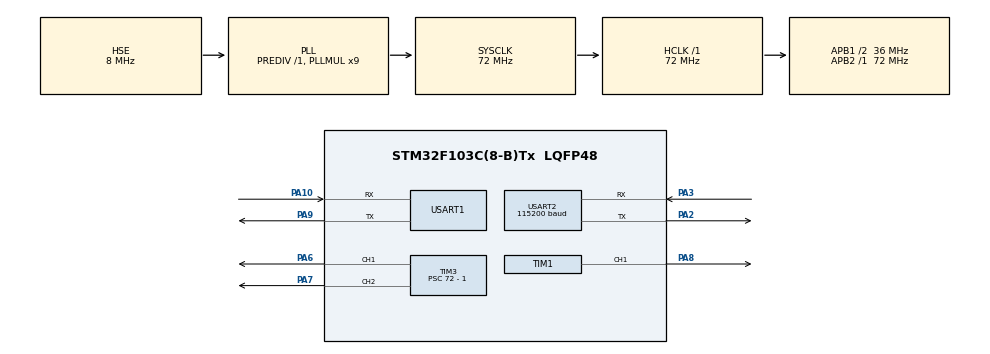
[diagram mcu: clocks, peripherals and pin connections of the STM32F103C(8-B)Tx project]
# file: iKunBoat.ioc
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Mcu.Family=STM32F1
Mcu.Name=STM32F103C(8-B)Tx
Mcu.Package=LQFP48
NVIC.PriorityGroup=NVIC_PRIORITYGROUP_4
NVIC.USART1_IRQn=true\:0\:0\:true\:false\:true\:true\:true
NVIC.USART2_IRQn=true\:1\:0\:true\:false\:true\:true\:true
PA10.Mode=Asynchronous
PA10.Signal=USART1_RX
PA13.Mode=Serial_Wire
PA13.Signal=SYS_JTMS-SWDIO
PA14.Mode=Serial_Wire
PA14.Signal=SYS_JTCK-SWCLK
PA2.Mode=Asynchronous
PA2.Signal=USART2_TX
PA3.Mode=Asynchronous
PA3.Signal=USART2_RX
PA6.GPIO_Speed=GPIO_SPEED_FREQ_HIGH
PA6.Signal=S_TIM3_CH1
PA7.GPIO_Speed=GPIO_SPEED_FREQ_HIGH
PA7.Signal=S_TIM3_CH2
PA8.GPIO_Speed=GPIO_SPEED_FREQ_HIGH
PA8.Signal=S_TIM1_CH1
PA9.Mode=Asynchronous
PA9.Signal=USART1_TX
PD0-OSC_IN.Mode=HSE-External-Oscillator
PD0-OSC_IN.Signal=RCC_OSC_IN
PD1-OSC_OUT.Mode=HSE-External-Oscillator
PD1-OSC_OUT.Signal=RCC_OSC_OUT
ProjectManager.HeapSize=0x200
ProjectManager.StackSize=0x400
ProjectManager.TargetToolchain=STM32CubeIDE
RCC.AHBFreq_Value=72000000
RCC.APB1CLKDivider=RCC_HCLK_DIV2
RCC.APB1Freq_Value=36000000
RCC.APB1TimFreq_Value=72000000
RCC.APB2Freq_Value=72000000
RCC.APB2TimFreq_Value=72000000
RCC.HCLKFreq_Value=72000000
RCC.PLLMUL=RCC_PLL_MUL9
RCC.PLLSourceVirtual=RCC_PLLSOURCE_HSE
RCC.SYSCLKFreq_VALUE=72000000
RCC.SYSCLKSource=RCC_SYSCLKSOURCE_PLLCLK
RCC.USBFreq_Value=72000000
SH.S_TIM1_CH1.0=TIM1_CH1,PWM Generation1 CH1
SH.S_TIM3_CH1.0=TIM3_CH1,PWM Generation1 CH1
SH.S_TIM3_CH2.0=TIM3_CH2,PWM Generation2 CH2
TIM1.Channel-PWM\ Generation1\ CH1=TIM_CHANNEL_1
TIM1.Period=20000 - 1
TIM1.Prescaler=72 - 1
TIM3.Channel-PWM\ Generation1\ CH1=TIM_CHANNEL_1
TIM3.Channel-PWM\ Generation2\ CH2=TIM_CHANNEL_2
TIM3.Period=1000 - 1
TIM3.Prescaler=72 - 1
USART1.VirtualMode=VM_ASYNC
USART2.BaudRate=115200
USART2.VirtualMode=VM_ASYNC
VP_TIM1_VS_ClockSourceINT.Mode=Internal
VP_TIM3_VS_ClockSourceINT.Mode=Internal
board=custom

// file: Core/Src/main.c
/* USER CODE BEGIN Header */
/**
  ******************************************************************************
  * @file           : main.c
  * @brief          : Main program body
  ******************************************************************************
  * @attention
  *
  * Copyright (c) 2023 STMicroelectronics.
  * All rights reserved.
  *
  * This software is licensed under terms that can be found in the LICENSE file
  * in the root directory of this software component.
  * If no LICENSE file comes with this software, it is provided AS-IS.
  *
  ******************************************************************************
  */
#include "string.h"
/* USER CODE END Header */
#include "main.h"

TIM_HandleTypeDef htim1;
TIM_HandleTypeDef htim3;

UART_HandleTypeDef huart1;
UART_HandleTypeDef huart2;

void SystemClock_Config(void);
static void MX_GPIO_Init(void);
static void MX_TIM1_Init(void);
static void MX_USART1_UART_Init(void);
static void MX_USART2_UART_Init(void);
static void MX_TIM3_Init(void);

/* USER CODE BEGIN 0 */

int upFlags = 0;
int downFlags = 0;
int leftFlags = 0;
int rightFlags = 0;

uint8_t tempChar;

void EnableDebugSerialTransmit()
{
    HAL_UART_Receive_IT(&huart2, &tempChar, 1);
}

void EnableWiFiSerialTransmit()
{
    HAL_UART_Receive_IT(&huart1, &tempChar, 1);
}

void MoveForward()
{
    __HAL_TIM_SET_COMPARE(&htim3, TIM_CHANNEL_1, 1000);
    __HAL_TIM_SET_COMPARE(&htim3, TIM_CHANNEL_2, 0);
}
void MoveBackward()
{
    __HAL_TIM_SET_COMPARE(&htim3, TIM_CHANNEL_1, 0);
    __HAL_TIM_SET_COMPARE(&htim3, TIM_CHANNEL_2, 1000);
}
void Stop()
{
    __HAL_TIM_SET_COMPARE(&htim3, TIM_CHANNEL_1, 0);
    __HAL_TIM_SET_COMPARE(&htim3, TIM_CHANNEL_2, 0);
}
void TurnLeft()
{
    __HAL_TIM_SET_COMPARE(&htim1, TIM_CHANNEL_1, 1350);
}
void TurnRight()
{
    __HAL_TIM_SET_COMPARE(&htim1, TIM_CHANNEL_1, 900);
}
void TurnMid()
{
    __HAL_TIM_SET_COMPARE(&htim1, TIM_CHANNEL_1, 1100);
}

void HandleDebugSerialMessage(const char* message, int len)
{
    switch (message[0]) {
        case 'w':
            MoveForward();
            break;
        case 's':
            MoveBackward();
            break;
        case 'a':
            TurnLeft();
            break;
        case 'd':
            TurnRight();
            break;
        case 'x':
            TurnMid();
            break;
        case 'p':
            Stop();
            break;
    }
}

void HandleWiFiSerialMessage(const char* message, int len)
{
    switch (message[0]) {
        case 'w':
            upFlags = 100;
            break;
        case 's':
            downFlags = 100;
            break;
        case 'a':
            leftFlags = 100;
            break;
        case 'd':
            rightFlags = 100;
            break;
    }
}

void HAL_UART_RxCpltCallback(UART_HandleTypeDef* huart)
{
    static uint8_t debugUartRecvBuff[1] = {};
    static uint8_t debugUartBuff[16] = {};
    static int debugUartOffset = 0;
    static uint8_t echoEnd[] = "\r\n";

    static uint8_t wifiRecvBuff[1] = {};

    if (huart->Instance == USART1) { //WiFi模块
//        wifiRecvBuff[0] = 'a';
//        HAL_UART_Transmit(&huart2, wifiRecvBuff, 1, 10); //数据回显
        HandleWiFiSerialMessage(wifiRecvBuff,  1);
        HAL_UART_Receive_IT(huart, wifiRecvBuff, 1);
    } else if (huart->Instance == USART2) { //调试
        debugUartBuff[debugUartOffset] = debugUartRecvBuff[0];
        if (debugUartBuff[debugUartOffset] == ';') {
            HAL_UART_Transmit(huart, debugUartBuff, debugUartOffset + 1, 10); //数据回显
            HAL_UART_Transmit(huart, echoEnd, strlen(echoEnd), 10); //数据回显
            HandleDebugSerialMessage(debugUartBuff, debugUartOffset + 1);
            debugUartOffset = 0;
        } else {
            ++debugUartOffset;
        }
        HAL_UART_Receive_IT(huart, debugUartRecvBuff, 1);
    }
}

/* USER CODE END 0 */

int main(void)
{

  /* MCU Configuration--------------------------------------------------------*/

  /* Reset of all peripherals, Initializes the Flash interface and the Systick. */
  HAL_Init();

  /* Configure the system clock */
  SystemClock_Config();

  /* Initialize all configured peripherals */
  MX_GPIO_Init();
  MX_TIM1_Init();
  MX_USART1_UART_Init();
  MX_USART2_UART_Init();
  MX_TIM3_Init();
  /* USER CODE BEGIN 2 */

    HAL_Delay(1000);

    EnableWiFiSerialTransmit();
//    EnableDebugSerialTransmit();

    HAL_TIM_PWM_Start(&htim1, TIM_CHANNEL_1);
    HAL_TIM_PWM_Start(&htim3, TIM_CHANNEL_1);
    HAL_TIM_PWM_Start(&htim3, TIM_CHANNEL_2);

    TurnMid();

    __HAL_TIM_SET_COMPARE(&htim3, TIM_CHANNEL_1, 0);
    __HAL_TIM_SET_COMPARE(&htim3, TIM_CHANNEL_2, 0);

    HAL_Delay(3000);

    char command1[] = "AT+CIPMUX=1\r\n";
    HAL_UART_Transmit(&huart1, command1, strlen(command1), 100);

    HAL_Delay(1000);

    char  command2[] = "AT+CIPSERVER=1,8896\r\n";
    HAL_UART_Transmit(&huart1, command2, strlen(command2), 100);

    __HAL_TIM_SET_COMPARE(&htim3, TIM_CHANNEL_1, 300);
    HAL_Delay(1000);
    __HAL_TIM_SET_COMPARE(&htim3, TIM_CHANNEL_1, 0);

  /* USER CODE END 2 */

  /* Infinite loop */
  /* USER CODE BEGIN WHILE */
  while (1)
  {
      HAL_Delay(1);
      if (upFlags > 0) {
          --upFlags;
          MoveForward();
      }
      if (downFlags > 0) {
          --downFlags;
          MoveBackward();
      }
      if (upFlags == 0 && downFlags == 0) {
          Stop();
      }
      if (leftFlags > 0) {
          --leftFlags;
          TurnLeft();
      }
      if (rightFlags > 0) {
          --rightFlags;
          TurnRight();
      }
      if (leftFlags == 0 && rightFlags == 0) {
          TurnMid();
      }

    /* USER CODE END WHILE */

  }
}

void SystemClock_Config(void)
{
  RCC_OscInitTypeDef RCC_OscInitStruct = {0};
  RCC_ClkInitTypeDef RCC_ClkInitStruct = {0};

  /** Initializes the RCC Oscillators according to the specified parameters
  * in the RCC_OscInitTypeDef structure.
  */
  RCC_OscInitStruct.OscillatorType = RCC_OSCILLATORTYPE_HSE;
  RCC_OscInitStruct.HSEState = RCC_HSE_ON;
  RCC_OscInitStruct.HSEPredivValue = RCC_HSE_PREDIV_DIV1;
  RCC_OscInitStruct.HSIState = RCC_HSI_ON;
  RCC_OscInitStruct.PLL.PLLState = RCC_PLL_ON;
  RCC_OscInitStruct.PLL.PLLSource = RCC_PLLSOURCE_HSE;
  RCC_OscInitStruct.PLL.PLLMUL = RCC_PLL_MUL9;
  if (HAL_RCC_OscConfig(&RCC_OscInitStruct) != HAL_OK)
  {
    Error_Handler();
  }
  /** Initializes the CPU, AHB and APB buses clocks
  */
  RCC_ClkInitStruct.ClockType = RCC_CLOCKTYPE_HCLK|RCC_CLOCKTYPE_SYSCLK
                              |RCC_CLOCKTYPE_PCLK1|RCC_CLOCKTYPE_PCLK2;
  RCC_ClkInitStruct.SYSCLKSource = RCC_SYSCLKSOURCE_PLLCLK;
  RCC_ClkInitStruct.AHBCLKDivider = RCC_SYSCLK_DIV1;
  RCC_ClkInitStruct.APB1CLKDivider = RCC_HCLK_DIV2;
  RCC_ClkInitStruct.APB2CLKDivider = RCC_HCLK_DIV1;

  if (HAL_RCC_ClockConfig(&RCC_ClkInitStruct, FLASH_LATENCY_2) != HAL_OK)
  {
    Error_Handler();
  }
}

static void MX_TIM1_Init(void)
{

  TIM_ClockConfigTypeDef sClockSourceConfig = {0};
  TIM_MasterConfigTypeDef sMasterConfig = {0};
  TIM_OC_InitTypeDef sConfigOC = {0};
  TIM_BreakDeadTimeConfigTypeDef sBreakDeadTimeConfig = {0};

  htim1.Instance = TIM1;
  htim1.Init.Prescaler = 72 - 1;
  htim1.Init.CounterMode = TIM_COUNTERMODE_UP;
  htim1.Init.Period = 20000 - 1;
  htim1.Init.ClockDivision = TIM_CLOCKDIVISION_DIV1;
  htim1.Init.RepetitionCounter = 0;
  htim1.Init.AutoReloadPreload = TIM_AUTORELOAD_PRELOAD_DISABLE;
  if (HAL_TIM_Base_Init(&htim1) != HAL_OK)
  {
    Error_Handler();
  }
  sClockSourceConfig.ClockSource = TIM_CLOCKSOURCE_INTERNAL;
  if (HAL_TIM_ConfigClockSource(&htim1, &sClockSourceConfig) != HAL_OK)
  {
    Error_Handler();
  }
  if (HAL_TIM_PWM_Init(&htim1) != HAL_OK)
  {
    Error_Handler();
  }
  sMasterConfig.MasterOutputTrigger = TIM_TRGO_RESET;
  sMasterConfig.MasterSlaveMode = TIM_MASTERSLAVEMODE_DISABLE;
  if (HAL_TIMEx_MasterConfigSynchronization(&htim1, &sMasterConfig) != HAL_OK)
  {
    Error_Handler();
  }
  sConfigOC.OCMode = TIM_OCMODE_PWM1;
  sConfigOC.Pulse = 0;
  sConfigOC.OCPolarity = TIM_OCPOLARITY_HIGH;
  sConfigOC.OCNPolarity = TIM_OCNPOLARITY_HIGH;
  sConfigOC.OCFastMode = TIM_OCFAST_DISABLE;
  sConfigOC.OCIdleState = TIM_OCIDLESTATE_RESET;
  sConfigOC.OCNIdleState = TIM_OCNIDLESTATE_RESET;
  if (HAL_TIM_PWM_ConfigChannel(&htim1, &sConfigOC, TIM_CHANNEL_1) != HAL_OK)
  {
    Error_Handler();
  }
  sBreakDeadTimeConfig.OffStateRunMode = TIM_OSSR_DISABLE;
  sBreakDeadTimeConfig.OffStateIDLEMode = TIM_OSSI_DISABLE;
  sBreakDeadTimeConfig.LockLevel = TIM_LOCKLEVEL_OFF;
  sBreakDeadTimeConfig.DeadTime = 0;
  sBreakDeadTimeConfig.BreakState = TIM_BREAK_DISABLE;
  sBreakDeadTimeConfig.BreakPolarity = TIM_BREAKPOLARITY_HIGH;
  sBreakDeadTimeConfig.AutomaticOutput = TIM_AUTOMATICOUTPUT_DISABLE;
  if (HAL_TIMEx_ConfigBreakDeadTime(&htim1, &sBreakDeadTimeConfig) != HAL_OK)
  {
    Error_Handler();
  }
  HAL_TIM_MspPostInit(&htim1);

}

static void MX_TIM3_Init(void)
{

  TIM_ClockConfigTypeDef sClockSourceConfig = {0};
  TIM_MasterConfigTypeDef sMasterConfig = {0};
  TIM_OC_InitTypeDef sConfigOC = {0};

  htim3.Instance = TIM3;
  htim3.Init.Prescaler = 72 - 1;
  htim3.Init.CounterMode = TIM_COUNTERMODE_UP;
  htim3.Init.Period = 1000 - 1;
  htim3.Init.ClockDivision = TIM_CLOCKDIVISION_DIV1;
  htim3.Init.AutoReloadPreload = TIM_AUTORELOAD_PRELOAD_DISABLE;
  if (HAL_TIM_Base_Init(&htim3) != HAL_OK)
  {
    Error_Handler();
  }
  sClockSourceConfig.ClockSource = TIM_CLOCKSOURCE_INTERNAL;
  if (HAL_TIM_ConfigClockSource(&htim3, &sClockSourceConfig) != HAL_OK)
  {
    Error_Handler();
  }
  if (HAL_TIM_PWM_Init(&htim3) != HAL_OK)
  {
    Error_Handler();
  }
  sMasterConfig.MasterOutputTrigger = TIM_TRGO_RESET;
  sMasterConfig.MasterSlaveMode = TIM_MASTERSLAVEMODE_DISABLE;
  if (HAL_TIMEx_MasterConfigSynchronization(&htim3, &sMasterConfig) != HAL_OK)
  {
    Error_Handler();
  }
  sConfigOC.OCMode = TIM_OCMODE_PWM1;
  sConfigOC.Pulse = 0;
  sConfigOC.OCPolarity = TIM_OCPOLARITY_HIGH;
  sConfigOC.OCFastMode = TIM_OCFAST_DISABLE;
  if (HAL_TIM_PWM_ConfigChannel(&htim3, &sConfigOC, TIM_CHANNEL_1) != HAL_OK)
  {
    Error_Handler();
  }
  if (HAL_TIM_PWM_ConfigChannel(&htim3, &sConfigOC, TIM_CHANNEL_2) != HAL_OK)
  {
    Error_Handler();
  }
  HAL_TIM_MspPostInit(&htim3);

}

static void MX_USART1_UART_Init(void)
{

  huart1.Instance = USART1;
  huart1.Init.BaudRate = 115200;
  huart1.Init.WordLength = UART_WORDLENGTH_8B;
  huart1.Init.StopBits = UART_STOPBITS_1;
  huart1.Init.Parity = UART_PARITY_NONE;
  huart1.Init.Mode = UART_MODE_TX_RX;
  huart1.Init.HwFlowCtl = UART_HWCONTROL_NONE;
  huart1.Init.OverSampling = UART_OVERSAMPLING_16;
  if (HAL_UART_Init(&huart1) != HAL_OK)
  {
    Error_Handler();
  }

}

static void MX_USART2_UART_Init(void)
{

  huart2.Instance = USART2;
  huart2.Init.BaudRate = 115200;
  huart2.Init.WordLength = UART_WORDLENGTH_8B;
  huart2.Init.StopBits = UART_STOPBITS_1;
  huart2.Init.Parity = UART_PARITY_NONE;
  huart2.Init.Mode = UART_MODE_TX_RX;
  huart2.Init.HwFlowCtl = UART_HWCONTROL_NONE;
  huart2.Init.OverSampling = UART_OVERSAMPLING_16;
  if (HAL_UART_Init(&huart2) != HAL_OK)
  {
    Error_Handler();
  }

}

static void MX_GPIO_Init(void)
{

  /* GPIO Ports Clock Enable */
  __HAL_RCC_GPIOD_CLK_ENABLE();
  __HAL_RCC_GPIOA_CLK_ENABLE();

}

void Error_Handler(void)
{
  __disable_irq();
  while (1)
  {
  }
}
